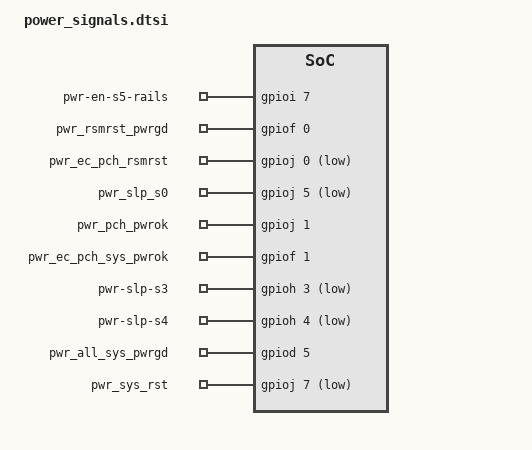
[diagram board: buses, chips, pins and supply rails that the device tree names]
/* Copyright 2025 The ChromiumOS Authors
 * Use of this source code is governed by a BSD-style license that can be
 * found in the LICENSE file.
 */

/ {
	chosen {
		intel-ap-pwrseq,espi = &espi0;
	};

	common-pwrseq {
		compatible = "intel,ap-pwrseq";

		sys-pwrok-delay = <3>;
		all-sys-pwrgd-timeout = <20>;
		sys-reset-delay = <60>;
	};

	pwr-en-s5-rails {
		compatible = "intel,ap-pwrseq-gpio";
		dbg-label = "EN_S5_RAILS enable output for PP5000/PP3300";
		enum-name = "PWR_EN_PP5000_A";
		gpios = <&gpioi 7 0>;
		output;
	};
	pwr_rsmrst_pwrgd: rsmrst-pwrgd-ec-n {
		compatible = "intel,ap-pwrseq-gpio";
		dbg-label = "RSMRST power good from regulator";
		enum-name = "PWR_RSMRST_PWRGD";
		interrupt-flags = <GPIO_INT_EDGE_BOTH>;
                /* RSMRST_PWRGD_N_R net  */
	        gpios = <&gpiof 0 0>;
	};
	pwr_ec_pch_rsmrst: pm-rsmrst-ec-n {
		compatible = "intel,ap-pwrseq-gpio";
		dbg-label = "RSMRST output to PCH";
		enum-name = "PWR_EC_PCH_RSMRST";
                /* RM_RSMST_N_R net */
	        gpios = <&gpioj 0 GPIO_ACTIVE_LOW>;
		reset-val = <1>;
		output;
	};
	pwr_slp_s0: pm-slp-s0-r-n {
		compatible = "intel,ap-pwrseq-gpio";
		dbg-label = "SLP_S0_L input from PCH";
		enum-name = "PWR_SLP_S0";
		interrupt-flags = <GPIO_INT_EDGE_BOTH>;
                /* PCH_SLP_S0_N_R net */
	        gpios = <&gpioj 5 (GPIO_ACTIVE_LOW)>;
	};
	pwr_pch_pwrok: ec-pm-pch-pwrok {
		compatible = "intel,ap-pwrseq-gpio";
		dbg-label = "PCH_PWROK output to PCH";
		enum-name = "PWR_PCH_PWROK";
                /* PCH_PWROK_EC_R net */
	        gpios = <&gpioj 1 GPIO_ACTIVE_HIGH>;
		output;
	};
	pwr_ec_pch_sys_pwrok: pwr-ec-pch-sys-pwrok {
		compatible = "intel,ap-pwrseq-gpio";
		dbg-label = "SYS_PWROK output to PCH";
		enum-name = "PWR_EC_PCH_SYS_PWROK";
		gpios = <&gpiof 1 GPIO_ACTIVE_HIGH>;
		output;
	};
	pwr-slp-s3 {
		compatible = "intel,ap-pwrseq-gpio";
		dbg-label = "SLP_S3_L input from PCH";
		enum-name = "PWR_SLP_S3";
		gpios = <&gpioh 3 GPIO_ACTIVE_LOW>;
		interrupt-flags = <GPIO_INT_EDGE_BOTH>;
	};
	pwr-slp-s4 {
		compatible = "intel,ap-pwrseq-gpio";
		dbg-label = "SLP_S4_L input from PCH";
		enum-name = "PWR_SLP_S4";
		gpios = <&gpioh 4 GPIO_ACTIVE_LOW>;
		interrupt-flags = <GPIO_INT_EDGE_BOTH>;
	};
	pwr-slp-s5 {
		compatible = "intel,ap-pwrseq-vw";
		dbg-label = "SLP_S5 virtual wire input from PCH";
		enum-name = "PWR_SLP_S5";
		virtual-wire = "ESPI_VWIRE_SIGNAL_SLP_S5";
		reset-val = <1>;
		vw-invert;
	};
	pwr_all_sys_pwrgd: all_sys_pwrgd {
		compatible = "intel,ap-pwrseq-gpio";
		dbg-label = "all power good";
		enum-name = "PWR_ALL_SYS_PWRGD";
		interrupt-flags = <GPIO_INT_EDGE_BOTH>;
                /* ALL_SYS_PWRGD_R net */
	        gpios = <&gpiod 5 (GPIO_ACTIVE_HIGH | GPIO_VOLTAGE_1P8)>;
	};
	pwr_sys_rst: pwr-sys-rst-l {
		compatible = "intel,ap-pwrseq-gpio";
		dbg-label = "SYS_RESET# output to PCH";
		enum-name = "PWR_SYS_RST";
                gpios = <&gpioj 7 (GPIO_ACTIVE_LOW | GPIO_OPEN_DRAIN)>;
		output;
	};
	pwr_pltrst: pwr-pltrst {
		compatible = "intel,ap-pwrseq-vw";
		dbg-label = "PLTRST virtual wire input from PCH";
		enum-name = "PWR_PLTRST";
		virtual-wire = "ESPI_VWIRE_SIGNAL_PLTRST";
		reset-val = <1>;
		vw-invert;
	};
	ap-power {
		compatible = "ap-pwrseq-sub-states";
		chipset = "S0ix";
	};
};
